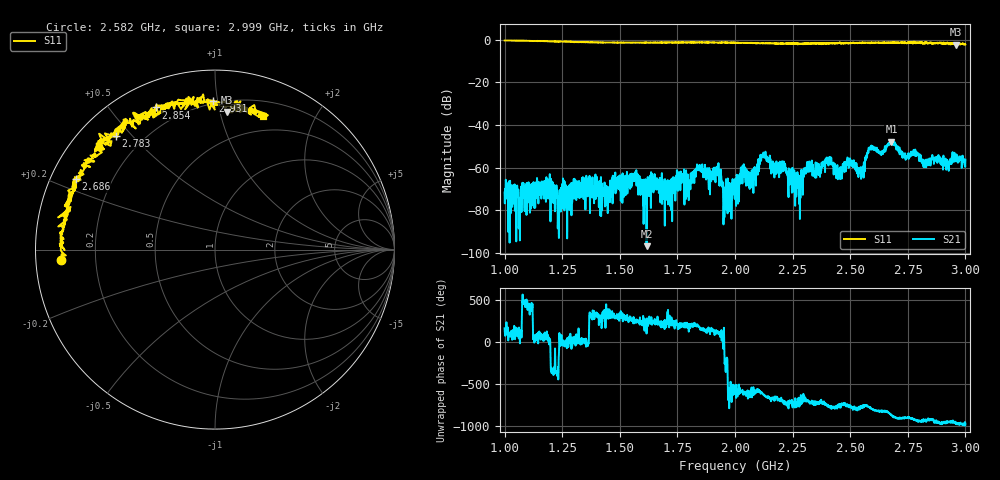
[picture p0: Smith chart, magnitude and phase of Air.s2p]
# HZ S RI R 50
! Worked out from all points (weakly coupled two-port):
!   2020 points, 1 GHz to 3 GHz, reference 50 ohm
!   highest |S21| = -47.74 dB at 2.679 GHz (marker M1); lowest = -96.8 dB at 1.616 GHz (marker M2)
!   lowest |S11| = -2.3 dB at 2.959 GHz (marker M3), VSWR 7.68, Z = 14 + j52.5 ohm
!   |S11| at or under -10 dB: nowhere
!   S12 and S22 are empty: the file has one direction only
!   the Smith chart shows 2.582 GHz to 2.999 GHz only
!   S11 on the Smith chart (normalised r, x): 2.582 GHz: 0.08, -0.03; 2.686 GHz: 0.07, +0.24; 2.783 GHz: 0.10, +0.45; 2.854 GHz: 0.11, +0.66; 2.931 GHz: 0.18, +0.97; 2.999 GHz: 0.35, +1.37
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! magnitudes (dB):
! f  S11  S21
! 1 GHz  -0.3  -71.6
! 1.334 GHz  -1.0  -67.5
! 1.616 GHz  -1.3  -96.8
! 1.668 GHz  -1.3  -65.7
! 1.844 GHz  -1.3  -60.4
! 1.929 GHz  -1.3  -62.2
! 1.958 GHz  -1.4  -72.3
! 2 GHz  -1.4  -65.2
! 2.124 GHz  -1.6  -54.0
! 2.276 GHz  -1.8  -63.9
! 2.334 GHz  -1.8  -60.7
! 2.545 GHz  -1.4  -61.2
! 2.582 GHz  -1.3  -51.1
! 2.667 GHz  -1.4  -49.5
! 2.679 GHz  -1.4  -47.7
! 2.686 GHz  -1.2  -48.0
! 2.783 GHz  -1.5  -52.8
! 2.854 GHz  -1.3  -55.0
! 2.931 GHz  -1.6  -58.5
! 2.959 GHz  -2.3  -54.8
! 2.999 GHz  -2.0  -59.6
! 3 GHz  -2.2  -56.2
